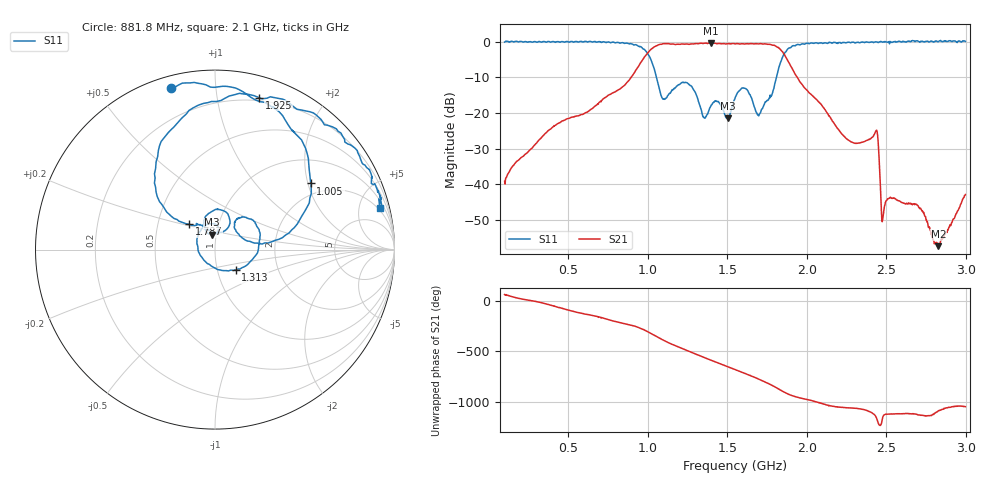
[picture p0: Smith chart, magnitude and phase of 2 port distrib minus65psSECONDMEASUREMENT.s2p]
# HZ S RI R 50
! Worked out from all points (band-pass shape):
!   1009 points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, 100 MHz to 2.997 GHz, reference 50 ohm
!   highest |S21| = -0.35 dB at 1.396 GHz (marker M1); lowest = -57.5 dB at 2.828 GHz (marker M2)
!   |S21| within 3 dB of the highest: 995.8 MHz to 1.856 GHz (859.8 MHz wide, 60.3 % of centre)
!   lowest |S11| = -21.5 dB at 1.505 GHz (marker M3), VSWR 1.18, Z = 47.6 + j7.91 ohm
!   |S11| at or under -10 dB: 1.055 GHz to 1.809 GHz (754.5 MHz wide, 52.7 % of centre)
!   S12 and S22 are empty: the file has one direction only
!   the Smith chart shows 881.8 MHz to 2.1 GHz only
!   S11 on the Smith chart (normalised r, x): 881.8 MHz: 0.05, +0.77; 1.005 GHz: 1.64, +2.09; 1.313 GHz: 1.22, -0.28; 1.787 GHz: 0.72, +0.21; 1.925 GHz: 0.17, +1.32; 2.1 GHz: 1.66, +7.62
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1e8  -0.7701 0.6272  0.00468 0.00988  0 0  0 0
2.465808e8  0.2362 0.9614  0.0278 0.00458  0 0  0 0
3.81665e8  1.007 0.036  0.0461 -0.0354  0 0  0 0
5.828543e8  -0.4819 -0.8877  -0.05 -0.0806  0 0  0 0
7.179386e8  -0.9959 0.0768  -0.1533 -0.0309  0 0  0 0
8.817642e8  -0.2429 0.9025  -0.1673 0.233  0 0  0 0
1.005352e9  0.5336 0.3684  0.4613 0.5549  0 0  0 0
1.065709e9  0.2483 0.0323  0.9031 -0.0305  0 0  0 0
1.1778e9  0.1465 0.1793  0.0412 -0.92  0 0  0 0
1.312884e9  0.1152 -0.1124  -0.9388 -0.0879  0 0  0 0
1.396234e9  -0.0926 0.0835  -0.6398 0.7169  0 0  0 0
1.505451e9  -0.0176 0.0825  0.4032 0.854  0 0  0 0
1.548563e9  -0.0619 0.1482  0.7321 0.5854  0 0  0 0
1.65778e9  0.0764 0.1281  0.8167 -0.4684  0 0  0 0
1.787116e9  -0.1449 0.141  -0.4958 -0.7485  0 0  0 0
1.925074e9  0.2455 0.8466  -0.2294 0.2744  0 0  0 0
2.031417e9  0.7952 0.5406  0.0031 0.1791  0 0  0 0
2.100397e9  0.9183 0.2339  0.065 0.1035  0 0  0 0
2.433796e9  0.4715 -0.8817  0.0201 -0.0518  0 0  0 0
2.514272e9  0.1728 -0.9813  0.00447 -0.00436  0 0  0 0
2.827552e9  -0.8118 -0.6023  0.00131 -0.000249  0 0  0 0
2.997126e9  -1.014 -0.00482  0.00619 0.00352  0 0  0 0
